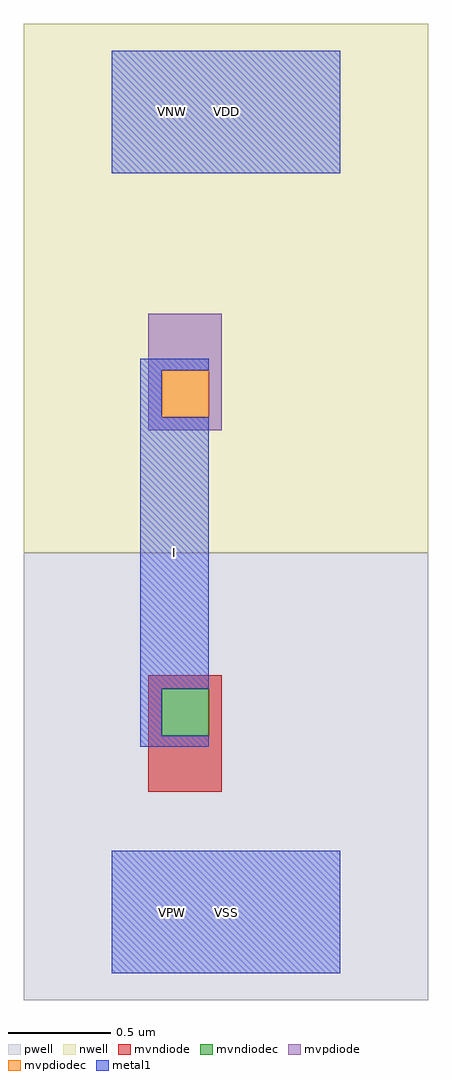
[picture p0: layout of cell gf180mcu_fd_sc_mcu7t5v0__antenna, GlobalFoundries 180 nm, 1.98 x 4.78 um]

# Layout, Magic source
magic
tech gf180mcuD
magscale 1 10
<< nwell >>
rect -86 352 310 870
<< pwell >>
rect -86 -86 310 352
<< mvpdiode >>
rect 36 531 108 586
rect 36 485 49 531
rect 95 485 108 531
rect 36 472 108 485
<< mvndiode >>
rect 36 219 108 232
rect 36 173 49 219
rect 95 173 108 219
rect 36 118 108 173
<< mvpdiodec >>
rect 49 485 95 531
<< mvndiodec >>
rect 49 173 95 219
<< metal1 >>
rect 0 724 224 844
rect 28 531 95 542
rect 28 485 49 531
rect 28 219 95 485
rect 28 173 49 219
rect 28 162 95 173
rect 0 -60 224 60
<< labels >>
flabel metal1 s 0 -60 224 60 0 FreeSans 400 0 0 0 VSS
port 5 nsew ground bidirectional abutment
flabel metal1 s 28 162 95 542 0 FreeSans 400 0 0 0 I
port 1 nsew default input
flabel metal1 s 0 724 224 844 0 FreeSans 400 0 0 0 VDD
port 2 nsew power bidirectional abutment
flabel nwell s 10 734 110 834 0 FreeSans 400 0 0 0 VNW
port 3 nsew power bidirectional
flabel pwell s 10 -50 110 50 0 FreeSans 400 0 0 0 VPW
port 4 nsew ground bidirectional
<< properties >>
string FIXED_BBOX 0 0 224 784
string GDS_END 1248338
string GDS_FILE $PDKPATH/libs.ref/gf180mcu_fd_sc_mcu7t5v0/gds/gf180mcu_fd_sc_mcu7t5v0.gds
string GDS_START 1246732
string LEFclass core ANTENNACELL
string LEFsite GF018hv5v_mcu_sc7
string LEFsymmetry X Y
string MASKHINTS_DUALGATE -56 634 280 840 -56 424 -12 634 156 424 280 634 -56 280 280 424 -56 70 -12 280 156 70 280 280 -56 -56 280 70
string MASKHINTS_NPLUS -40 264 264 352 -40 86 4 264 140 86 264 264 -40 -40 264 86
string MASKHINTS_PPLUS -40 618 264 824 -40 440 4 618 140 440 264 618 -40 352 264 440
<< end >>
